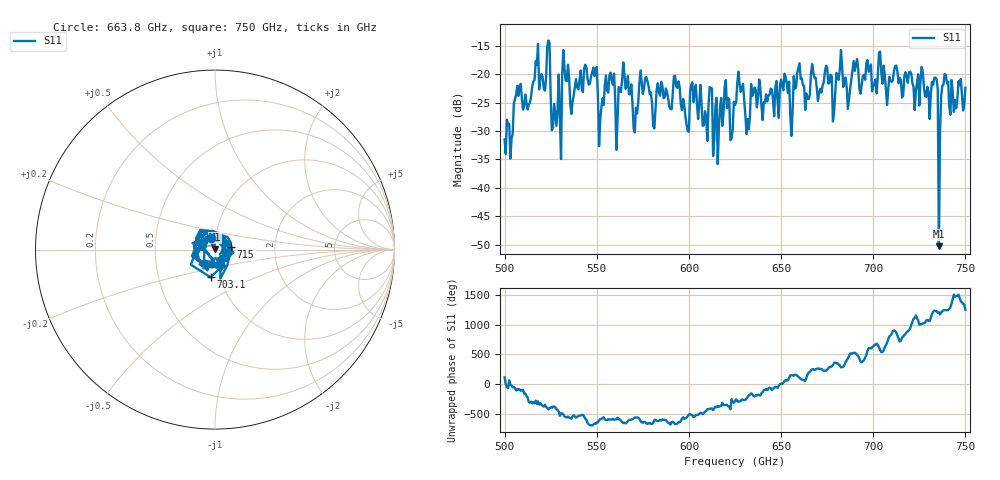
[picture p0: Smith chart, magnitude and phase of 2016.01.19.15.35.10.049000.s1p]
!Created with skrf (http://scikit-rf.org).
# GHz S RI R 50.0
!freq ReS11 ImS11
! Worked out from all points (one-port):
!   401 points, 500 GHz to 750 GHz, reference 50 ohm
!   lowest |S11| = -50.3 dB at 735.6 GHz (marker M1), VSWR 1.01, Z = 49.8 + j0.247 ohm
!   |S11| at or under -10 dB: start of sweep to end of sweep
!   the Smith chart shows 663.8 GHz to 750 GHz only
!   S11 on the Smith chart (normalised r, x): 663.8 GHz: 0.95, +0.12; 703.1 GHz: 0.91, -0.29; 715 GHz: 1.19, +0.04; 750 GHz: 0.86, +0.02
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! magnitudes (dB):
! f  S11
! 500 GHz  -31.5
! 516.9 GHz  -17.7
! 523.8 GHz  -14.0
! 526.9 GHz  -25.2
! 531.2 GHz  -19.9
! 533.1 GHz  -21.1
! 552.5 GHz  -25.9
! 562.5 GHz  -22.7
! 565.6 GHz  -22.5
! 570.6 GHz  -30.2
! 575 GHz  -23.4
! 580.6 GHz  -29.1
! 593.8 GHz  -22.4
! 598.8 GHz  -28.9
! 602.5 GHz  -24.9
! 614.4 GHz  -25.7
! 625 GHz  -25.4
! 656.2 GHz  -26.5
! 660 GHz  -18.1
! 663.8 GHz  -23.4
! 687.5 GHz  -22.5
! 703.1 GHz  -16.1
! 715 GHz  -21.1
! 718.8 GHz  -21.5
! 733.8 GHz  -20.6
! 735.6 GHz  -50.3
! 738.8 GHz  -19.9
! 750 GHz  -22.4
